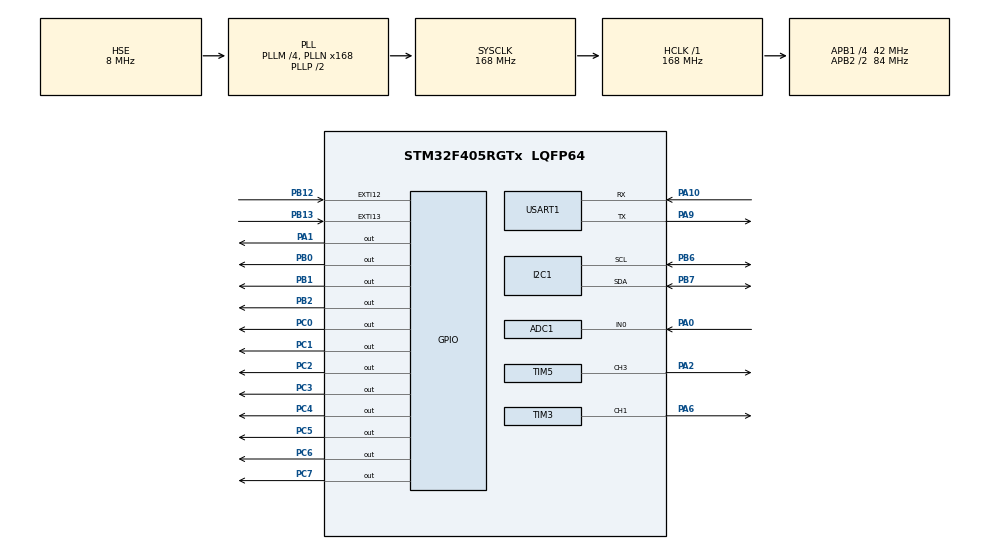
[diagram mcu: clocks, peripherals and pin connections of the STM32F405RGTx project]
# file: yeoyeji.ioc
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ADC1.Channel-4\#ChannelRegularConversion=ADC_CHANNEL_0
ADC1.ContinuousConvMode=ENABLE
ADC1.DMAContinuousRequests=ENABLE
ADC1.NbrOfConversionFlag=1
ADC1.Rank-4\#ChannelRegularConversion=1
ADC1.SamplingTime-4\#ChannelRegularConversion=ADC_SAMPLETIME_56CYCLES
ADC1.master=1
Dma.ADC1.0.Direction=DMA_PERIPH_TO_MEMORY
Dma.ADC1.0.FIFOMode=DMA_FIFOMODE_DISABLE
Dma.ADC1.0.Instance=DMA2_Stream0
Dma.ADC1.0.MemDataAlignment=DMA_MDATAALIGN_HALFWORD
Dma.ADC1.0.MemInc=DMA_MINC_ENABLE
Dma.ADC1.0.Mode=DMA_CIRCULAR
Dma.ADC1.0.PeriphDataAlignment=DMA_PDATAALIGN_HALFWORD
Dma.ADC1.0.PeriphInc=DMA_PINC_DISABLE
Dma.ADC1.0.Priority=DMA_PRIORITY_LOW
Dma.Request0=ADC1
I2C1.I2C_Mode=I2C_Fast
Mcu.Family=STM32F4
Mcu.Name=STM32F405RGTx
Mcu.Package=LQFP64
NVIC.DMA2_Stream0_IRQn=true\:0\:0\:false\:false\:true\:false\:true
NVIC.EXTI15_10_IRQn=true\:0\:0\:false\:false\:true\:true\:true
NVIC.PriorityGroup=NVIC_PRIORITYGROUP_4
PA0-WKUP.Signal=ADCx_IN0
PA1.Signal=GPIO_Output
PA10.Mode=Asynchronous
PA10.Signal=USART1_RX
PA13.Mode=Serial_Wire
PA13.Signal=SYS_JTMS-SWDIO
PA14.Mode=Serial_Wire
PA14.Signal=SYS_JTCK-SWCLK
PA2.Signal=S_TIM5_CH3
PA6.Signal=S_TIM3_CH1
PA9.Mode=Asynchronous
PA9.Signal=USART1_TX
PB0.Signal=GPIO_Output
PB1.Signal=GPIO_Output
PB12.Signal=GPXTI12
PB13.Signal=GPXTI13
PB2.Signal=GPIO_Output
PB6.Mode=I2C
PB6.Signal=I2C1_SCL
PB7.Mode=I2C
PB7.Signal=I2C1_SDA
PC0.Signal=GPIO_Output
PC1.Signal=GPIO_Output
PC2.Signal=GPIO_Output
PC3.Signal=GPIO_Output
PC4.Signal=GPIO_Output
PC5.Signal=GPIO_Output
PC6.Signal=GPIO_Output
PC7.Signal=GPIO_Output
PH0-OSC_IN.Mode=HSE-External-Oscillator
PH0-OSC_IN.Signal=RCC_OSC_IN
PH1-OSC_OUT.Mode=HSE-External-Oscillator
PH1-OSC_OUT.Signal=RCC_OSC_OUT
ProjectManager.HeapSize=0x200
ProjectManager.StackSize=0x400
ProjectManager.TargetToolchain=EWARM V8.32
RCC.48MHZClocksFreq_Value=84000000
RCC.AHBFreq_Value=168000000
RCC.APB1CLKDivider=RCC_HCLK_DIV4
RCC.APB1Freq_Value=42000000
RCC.APB1TimFreq_Value=84000000
RCC.APB2CLKDivider=RCC_HCLK_DIV2
RCC.APB2Freq_Value=84000000
RCC.APB2TimFreq_Value=168000000
RCC.CortexFreq_Value=168000000
RCC.HCLKFreq_Value=168000000
RCC.HSE_VALUE=8000000
RCC.HSI_VALUE=16000000
RCC.LSE_VALUE=32768
RCC.PLLM=4
RCC.PLLN=168
RCC.PLLSourceVirtual=RCC_PLLSOURCE_HSE
RCC.SYSCLKFreq_VALUE=168000000
RCC.SYSCLKSource=RCC_SYSCLKSOURCE_PLLCLK
RCC.VCOOutputFreq_Value=336000000
SH.ADCx_IN0.0=ADC1_IN0,IN0
SH.S_TIM3_CH1.0=TIM3_CH1,PWM Generation1 CH1
SH.S_TIM5_CH3.0=TIM5_CH3,PWM Generation3 CH3
TIM3.Channel-PWM\ Generation1\ CH1=TIM_CHANNEL_1
TIM5.Channel-PWM\ Generation3\ CH3=TIM_CHANNEL_3
TIM5.Period=100-1
TIM5.Prescaler=84-1
USART1.VirtualMode=VM_ASYNC
VP_TIM3_VS_ClockSourceINT.Mode=Internal
board=custom

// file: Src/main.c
/* USER CODE BEGIN Header */
/**
  ******************************************************************************
  * @file           : main.c
  * @brief          : Main program body
  ******************************************************************************
  * @attention
  *
  * <h2><center>&copy; Copyright (c) 2020 STMicroelectronics.
  * All rights reserved.</center></h2>
  *
  * This software component is licensed by ST under BSD 3-Clause license,
  * the "License"; You may not use this file except in compliance with the
  * License. You may obtain a copy of the License at:
  *                        opensource.org/licenses/BSD-3-Clause
  *
  ******************************************************************************
  */
/* USER CODE END Header */

#include "main.h"
#include "adc.h"
#include "dma.h"
#include "i2c.h"
#include "tim.h"
#include "usart.h"
#include "gpio.h"

/* USER CODE BEGIN Includes */
#include "lcd.h"
#include "stdio.h"
/* USER CODE END Includes */

/* USER CODE BEGIN PD */
#define SHT2x_ADDR              0x40<<1
#define SHT2x_HOLD_MASTER_T     0xE3
#define SHT2x_HOLD_MASTER_RH    0xE5
#define SHT2x_NOHOLD_MASTER_T   0xF3
#define SHT2x_NOHOLD_MASTER_RH  0xF5
#define SHT2x_WRITE_USER_REG    0xE6
#define SHT2x_READ_USER_REG     0xE7
#define SHT2x_SOFT_RESET        0xFE
/* USER CODE END PD */

/* USER CODE BEGIN PV */
uint16_t adcData;
char str1[10];
uint32_t ledPin[] = {1, 2, 4, 8};

uint32_t in_t = 0;
uint32_t c_int = 0;

uint16_t adcData;
char adc_str[10];

uint8_t i2cData[2];     //i2c데이터 받아옴
uint16_t val = 0;
uint8_t mode;
float TEMP, HUMI; //온습도 받아옴
char str[16];    //lcd에 출력도와줌

uint8_t ch;
/* USER CODE END PV */

void SystemClock_Config(void);
/* USER CODE BEGIN PFP */
void LED_f();
/* USER CODE END PFP */

int main(void)
{
  /* USER CODE BEGIN 1 */
  unsigned char text[] = "L : LED\r\nC : CDS\r\n0~7 : PIANO\r\nT : 온습도\r\npush : stop";
  unsigned char i = 0;

  uint16_t CCR1_val = 0;
  uint8_t piano;
 unsigned int DoReMi[8] = {523, 587, 659, 698, 783, 880, 987, 1046};
  unsigned long pwmfreq;

  /* USER CODE END 1 */

  /* MCU Configuration--------------------------------------------------------*/

  /* Reset of all peripherals, Initializes the Flash interface and the Systick. */
  HAL_Init();

  /* Configure the system clock */
  SystemClock_Config();

  /* Initialize all configured peripherals */
  MX_GPIO_Init();
  MX_DMA_Init();
  MX_USART1_UART_Init();
  MX_I2C1_Init();
  MX_ADC1_Init();
  MX_TIM3_Init();
  MX_TIM5_Init();
  /* USER CODE BEGIN 2 */
  lcdInit();
  HAL_TIM_PWM_Start(&htim3, TIM_CHANNEL_1);
  HAL_TIM_PWM_Start(&htim5, TIM_CHANNEL_3);
  lcdClear();
  /* USER CODE END 2 */

  /* Infinite loop */
  /* USER CODE BEGIN WHILE */

  while(text[i]!='\0')
  {
    HAL_UART_Transmit(&huart1, &text[i], sizeof(text[i]), 10);
    i++;
  }

  HAL_ADC_Start_DMA(&hadc1, (uint32_t *)&adcData, 1);

  while (1)
  {

    HAL_UART_Receive(&huart1, &ch, sizeof(ch),10);

    switch(ch)
    {
      case 'L' :
        LED_f();
      break;

      case 'C':
       while(1)
       {
         if(c_int == 0)
         {
           lcdGotoXY(0,0);
           lcdPrintData("ADC TEST", 8);
           sprintf(adc_str, "ADC : %4d", adcData);
           lcdGotoXY(0, 1);                                            //lcd위치
           lcdPrint(adc_str);                                              //str->lcd
           HAL_Delay(500);
         }
         else
         {
           lcdClear();
           break;
         }
       }
       break;

    case 'T':
      while(1)
      {
        if(in_t == 0)
        {
          mode = SHT2x_NOHOLD_MASTER_T;                                        //마스터온도를 사용하기 위해 설정 DEFINE한 명령사용
          HAL_I2C_Master_Transmit(&hi2c1, SHT2x_ADDR, &mode, 1, 10);           //마스터가 먼저 보냄
          HAL_Delay(100);
          HAL_I2C_Master_Receive(&hi2c1, SHT2x_ADDR, i2cData, 2, 10);
          val = i2cData[0] << 8 | i2cData[1];
          TEMP = -46.85 + 175.72 * ((float)val / 65536);
          lcdGotoXY(0,0);
          sprintf(str, "TEMP : %5.2lf", TEMP);
          lcdPrint(str);

          mode = SHT2x_NOHOLD_MASTER_RH;
          HAL_I2C_Master_Transmit(&hi2c1, SHT2x_ADDR, &mode, 1, 10);
          HAL_Delay(100);
          HAL_I2C_Master_Receive(&hi2c1, SHT2x_ADDR, i2cData, 2, 10);
          val = i2cData[0] << 8 | i2cData[1];
          HUMI = -6 + 125 * ((float)val / 65536);
          lcdGotoXY(0, 1);
          sprintf(str, "HUMI : %5.2lf", HUMI);
          lcdPrint(str);
        }
        else
        {
          lcdClear();
          break;
        }
      }
      break;

    case 'P':
      while(1)
      {
              if (piano == '0')
                  {
                    pwmfreq = 84000000 / DoReMi[0];
                    TIM5->ARR = pwmfreq - 1;
                    TIM5->CCR3 = pwmfreq / 2;
                    HAL_Delay(300);
                    TIM5->CCR3 = 0;
                  }
              if (piano == '1')
                {
                  pwmfreq = 84000000 / DoReMi[1];
                  TIM5->ARR = pwmfreq - 1;
                  TIM5->CCR3 = pwmfreq / 2;
                  HAL_Delay(300);
                  TIM5->CCR3 = 0;
                }
              if (piano == '2')
                {
                  pwmfreq = 84000000 / DoReMi[2];
                  TIM5->ARR = pwmfreq - 1;
                  TIM5->CCR3 = pwmfreq / 2;
                  HAL_Delay(300);
                  TIM5->CCR3 = 0;
                }
              if (piano == '3')
                {
                  pwmfreq = 84000000 / DoReMi[3];
                  TIM5->ARR = pwmfreq - 1;
                  TIM5->CCR3 = pwmfreq / 2;
                  HAL_Delay(300);
                  TIM5->CCR3 = 0;
                }
              if (piano == '4')
                {
                  pwmfreq = 84000000 / DoReMi[4];
                  TIM5->ARR = pwmfreq - 1;
                  TIM5->CCR3 = pwmfreq / 2;
                  HAL_Delay(300);
                  TIM5->CCR3 = 0;
                }
              if (piano == '5')
                {
                  pwmfreq = 84000000 / DoReMi[5];
                  TIM5->ARR = pwmfreq - 1;
                  TIM5->CCR3 = pwmfreq / 2;
                  HAL_Delay(300);
                  TIM5->CCR3 = 0;
                }
              if (piano == '6')
                {
                  pwmfreq = 84000000 / DoReMi[6];
                  TIM5->ARR = pwmfreq - 1;
                  TIM5->CCR3 = pwmfreq / 2;
                  HAL_Delay(300);
                  TIM5->CCR3 = 0;
                }
              if (piano == '7')
                {
                  pwmfreq = 84000000 / DoReMi[7];
                  TIM5->ARR = pwmfreq - 1;
                  TIM5->CCR3 = pwmfreq / 2;
                  HAL_Delay(300);
                  TIM5->CCR3 = 0;
                }

      }

     }
    /* USER CODE END WHILE */

  }
}

void SystemClock_Config(void)
{
  RCC_OscInitTypeDef RCC_OscInitStruct = {0};
  RCC_ClkInitTypeDef RCC_ClkInitStruct = {0};

  /** Configure the main internal regulator output voltage
  */
  __HAL_RCC_PWR_CLK_ENABLE();
  __HAL_PWR_VOLTAGESCALING_CONFIG(PWR_REGULATOR_VOLTAGE_SCALE1);
  /** Initializes the CPU, AHB and APB busses clocks
  */
  RCC_OscInitStruct.OscillatorType = RCC_OSCILLATORTYPE_HSE;
  RCC_OscInitStruct.HSEState = RCC_HSE_ON;
  RCC_OscInitStruct.PLL.PLLState = RCC_PLL_ON;
  RCC_OscInitStruct.PLL.PLLSource = RCC_PLLSOURCE_HSE;
  RCC_OscInitStruct.PLL.PLLM = 4;
  RCC_OscInitStruct.PLL.PLLN = 168;
  RCC_OscInitStruct.PLL.PLLP = RCC_PLLP_DIV2;
  RCC_OscInitStruct.PLL.PLLQ = 4;
  if (HAL_RCC_OscConfig(&RCC_OscInitStruct) != HAL_OK)
  {
    Error_Handler();
  }
  /** Initializes the CPU, AHB and APB busses clocks
  */
  RCC_ClkInitStruct.ClockType = RCC_CLOCKTYPE_HCLK|RCC_CLOCKTYPE_SYSCLK
                              |RCC_CLOCKTYPE_PCLK1|RCC_CLOCKTYPE_PCLK2;
  RCC_ClkInitStruct.SYSCLKSource = RCC_SYSCLKSOURCE_PLLCLK;
  RCC_ClkInitStruct.AHBCLKDivider = RCC_SYSCLK_DIV1;
  RCC_ClkInitStruct.APB1CLKDivider = RCC_HCLK_DIV4;
  RCC_ClkInitStruct.APB2CLKDivider = RCC_HCLK_DIV2;

  if (HAL_RCC_ClockConfig(&RCC_ClkInitStruct, FLASH_LATENCY_5) != HAL_OK)
  {
    Error_Handler();
  }
}

/* USER CODE BEGIN 4 */
void HAL_GPIO_EXTI_Callback(uint16_t GPIO_Pin)
{
  if(GPIO_Pin == GPIO_PIN_12)
  {
    if(in_t == 0) in_t = 1;

    else if(in_t == 1) in_t = 0;
  }

  if(GPIO_Pin == GPIO_PIN_13)
  {
    if(c_int == 0) c_int = 1;

    else if(c_int == 1) c_int = 0;
  }

  ch = '\0';
}

void LED_f()
{
  while(1)
        {
          if(c_int == 0)
          {
            TIM3->CCR1 = CCR1_val;                       //CCR1_val 의 값을 바로 대입, pwm pulse
            CCR1_val++;
            if(CCR1_val > 100) CCR1_val = 0;            //0~99변화
            HAL_Delay(50);
          }
          else
          {
            TIM3->CCR1 = 0;
            break;
          }
}
/* USER CODE END 4 */

void Error_Handler(void)
{
}

/************************ (C) COPYRIGHT STMicroelectronics *****END OF FILE****/
